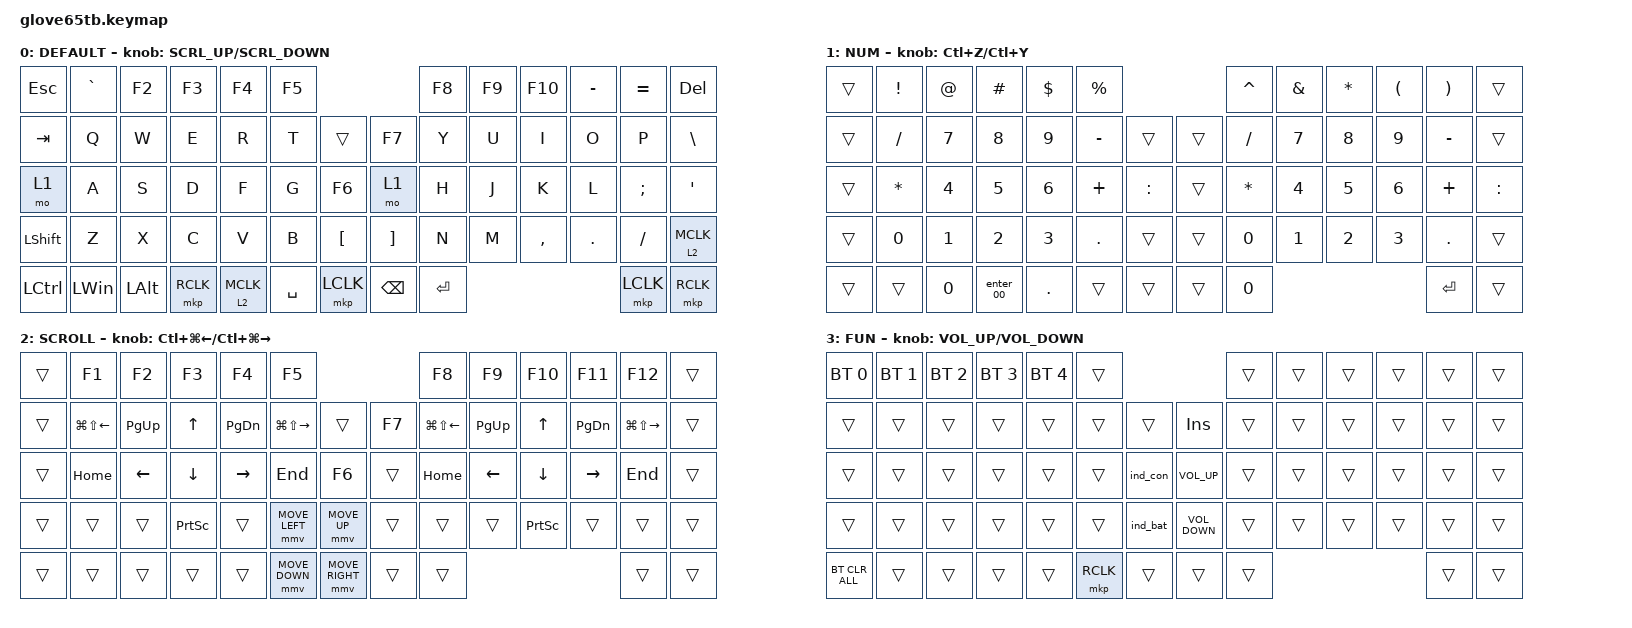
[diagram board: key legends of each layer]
#define ZMK_POINTING_DEFAULT_SCRL_VAL 150

#include <behaviors/rgbled_widget.dtsi>
#include <dt-bindings/zmk/input_transform.h>
#include <input/processors.dtsi>
#include <zephyr/dt-bindings/input/input-event-codes.h>
#include <behaviors.dtsi>
#include <dt-bindings/zmk/bt.h>
#include <dt-bindings/zmk/keys.h>
#include <dt-bindings/zmk/pointing.h>

// Layer Numbering

#define DEFAULT 0
#define NUM     1
#define SCROLL  2
#define FUN     3

&mmv {
    delay-ms = <20>;
    trigger-period-ms = <5>;
    time-to-max-speed-ms = <100>;
    acceleration-exponent = <2>;
};

&msc {
    delay-ms = <3>;
    trigger-period-ms = <3>;
    time-to-max-speed-ms = <100>;
    acceleration-exponent = <0>;
};

/ {
    input_processors {
        zip_wheel_scaler: zip_wheel_scaler {
            compatible = "zmk,input-processor-scaler";
            #input-processor-cells = <2>;
            type = <INPUT_EV_REL>;
            codes = <INPUT_REL_WHEEL>;
            track-remainders;
        };
    };
};

/ {
    combos {
        compatible = "zmk,combos";

        function {
            bindings = <&mo 3>;
            key-positions = <8 7 9 10>;
        };

        capsLock {
            bindings = <&kp CAPSLOCK>;
            key-positions = <1 2 3 4>;
        };
    };

    behaviors {
        sensor_rotate_kp: sensor_rotate_kp {
            compatible = "zmk,behavior-sensor-rotate-var";
            #sensor-binding-cells = <2>;
            bindings = <&kp>, <&kp>;
        };

        mouse_wheel_scroll: mouse_wheel_scroll {
            compatible = "zmk,behavior-sensor-rotate-var";
            #sensor-binding-cells = <2>;
            bindings = <&msc>, <&msc>;

            tap-ms = <20>;
        };

        my_ht: my_ht {
            compatible = "zmk,behavior-hold-tap";
            label = "MY_HOLD_TAP";
            bindings = <&mo>, <&mkp>;

            #binding-cells = <2>;
            tapping-term-ms = <200>;
            flavor = "balanced";
        };
    };

    macros {
        enter_00: enter_00 {
            compatible = "zmk,behavior-macro";
            #binding-cells = <0>;
            bindings = <&kp N0 &kp N0>;
            label = "ENTER_00";
        };
    };

    keymap {
        compatible = "zmk,keymap";

        default_layer {
            label = "DEFAULT";
            bindings = <
&kp ESC         &kp GRAVE     &kp F2        &kp F3     &kp F4         &kp F5                                          &kp F8     &kp F9  &kp F10    &kp MINUS  &kp EQUAL  &kp DEL
&kp TAB         &kp Q         &kp W         &kp E      &kp R          &kp T      &trans            &kp F7             &kp Y      &kp U   &kp I      &kp O      &kp P      &kp BACKSLASH
&mo 1           &kp A         &kp S         &kp D      &kp F          &kp G      &kp F6            &mo 1              &kp H      &kp J   &kp K      &kp L      &kp SEMI   &kp SQT
&kp LEFT_SHIFT  &kp Z         &kp X         &kp C      &kp V          &kp B      &kp LEFT_BRACKET  &kp RIGHT_BRACKET  &kp N      &kp M   &kp COMMA  &kp DOT    &kp FSLH   &my_ht 2 MCLK
&kp LCTRL       &kp LEFT_WIN  &kp LEFT_ALT  &mkp RCLK  &my_ht 2 MCLK  &kp SPACE  &mkp LCLK         &kp BACKSPACE      &kp ENTER                                &mkp LCLK  &mkp RCLK
            >;

            sensor-bindings = <&mouse_wheel_scroll SCRL_UP SCRL_DOWN>;
        };

        number_layer {
            label = "NUM";
            bindings = <
&trans  &kp EXCL   &kp AT  &kp HASH   &kp DLLR    &kp PRCNT                      &kp CARET     &kp AMPS  &kp STAR  &kp LPAR  &kp RPAR    &trans
&trans  &kp SLASH  &kp N7  &kp N8     &kp N9      &kp MINUS   &trans     &trans  &kp SLASH     &kp N7    &kp N8    &kp N9    &kp MINUS   &trans
&trans  &kp ASTRK  &kp N4  &kp N5     &kp N6      &kp PLUS    &kp COLON  &trans  &kp ASTERISK  &kp N4    &kp N5    &kp N6    &kp PLUS    &kp COLON
&trans  &kp N0     &kp N1  &kp N2     &kp N3      &kp PERIOD  &trans     &trans  &kp N0        &kp N1    &kp N2    &kp N3    &kp PERIOD  &trans
&trans  &trans     &kp N0  &enter_00  &kp PERIOD  &trans      &trans     &trans  &kp N0                                      &kp ENTER   &trans
            >;

            sensor-bindings = <&inc_dec_kp LC(Z) LC(Y)>;
        };

        scroll_layer {
            label = "SCROLL";
            bindings = <
&trans  &kp F1                  &kp F2          &kp F3           &kp F4         &kp F5                                      &kp F8            &kp F9     &kp F10          &kp F11        &kp F12            &trans
&trans  &kp LG(LS(LEFT_ARROW))  &kp PG_UP       &kp UP_ARROW     &kp PAGE_DOWN  &kp LG(LS(RIGHT))  &trans           &kp F7  &kp LG(LS(LEFT))  &kp PG_UP  &kp UP_ARROW     &kp PAGE_DOWN  &kp LG(LS(RIGHT))  &trans
&trans  &kp HOME                &kp LEFT_ARROW  &kp DOWN         &kp RIGHT      &kp END            &kp F6           &trans  &kp HOME          &kp LEFT   &kp DOWN_ARROW   &kp RIGHT      &kp END            &trans
&trans  &trans                  &trans          &kp PRINTSCREEN  &trans         &mmv MOVE_LEFT     &mmv MOVE_UP     &trans  &trans            &trans     &kp PRINTSCREEN  &trans         &trans             &trans
&trans  &trans                  &trans          &trans           &trans         &mmv MOVE_DOWN     &mmv MOVE_RIGHT  &trans  &trans                                                       &trans             &trans
            >;

            sensor-bindings = <&inc_dec_kp LC(LG(LEFT)) LC(LG(RIGHT))>;
        };

        function_layer {
            label = "FUN";
            bindings = <
&bt BT_SEL 0    &bt BT_SEL 1  &bt BT_SEL 2  &bt BT_SEL 3  &bt BT_SEL 4  &trans                                  &trans  &trans  &trans  &trans  &trans  &trans
&trans          &trans        &trans        &trans        &trans        &trans     &trans    &kp INS            &trans  &trans  &trans  &trans  &trans  &trans
&trans          &trans        &trans        &trans        &trans        &trans     &ind_con  &kp C_VOLUME_UP    &trans  &trans  &trans  &trans  &trans  &trans
&trans          &trans        &trans        &trans        &trans        &trans     &ind_bat  &kp C_VOLUME_DOWN  &trans  &trans  &trans  &trans  &trans  &trans
&bt BT_CLR_ALL  &trans        &trans        &trans        &trans        &mkp RCLK  &trans    &trans             &trans                          &trans  &trans
            >;

            sensor-bindings = <&sensor_rotate_kp C_VOLUME_UP C_VOLUME_DOWN>;
        };
    };
};
